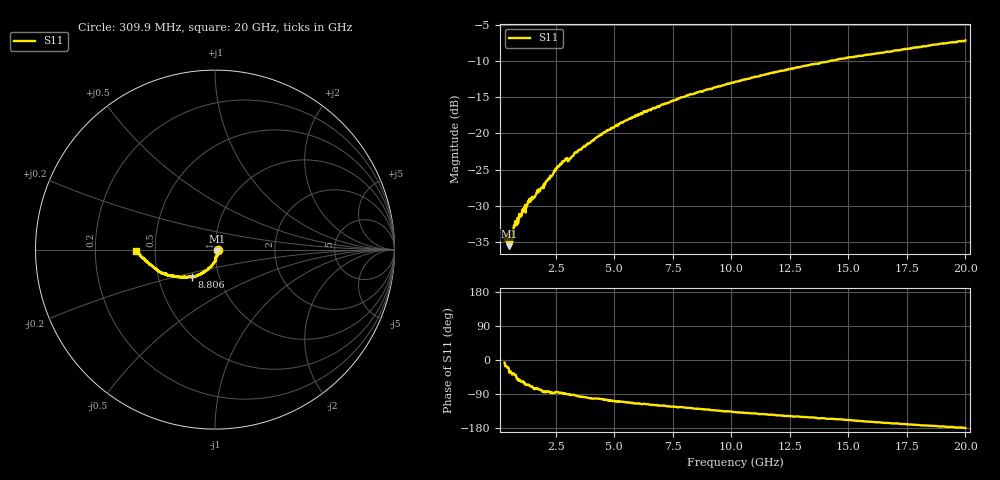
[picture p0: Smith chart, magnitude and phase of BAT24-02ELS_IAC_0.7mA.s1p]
! Infineon Technologies  Discrete & RF Semiconductors
! BAT24-02ELS
! IAC = 0.7 mA
! One-Port S-Parameters
# Hz  S  MA  R  50
!f  S11
!Hz  Mag  Ang
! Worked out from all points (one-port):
!   789 points, 309.9 MHz to 20 GHz, reference 50 ohm
!   lowest |S11| = -35.6 dB at 509.8 MHz (marker M1), VSWR 1.03, Z = 51.4 - j0.939 ohm
!   |S11| at or under -10 dB: start of sweep to 14.2 GHz
!   S11 on the Smith chart (normalised r, x): 309.9 MHz: 1.04, -0.00; 8.806 GHz: 0.74, -0.23; 20 GHz: 0.39, -0.01
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3.0985e8  0.01835 -7.0
4.098e8  0.01781 -17.7
4.847625e8  0.01837 -21.1
5.0975e8  0.0166 -33.4
5.59725e8  0.01678 -29.3
5.847125e8  0.01776 -34.5
7.346375e8  0.02261 -39.5
7.846125e8  0.02412 -39.0
1.30935e9  0.0338 -64.2
1.584212e9  0.03601 -77.2
1.959025e9  0.04379 -83.3
2.50875e9  0.05612 -84.5
2.783612e9  0.06416 -88.3
2.90855e9  0.06648 -88.9
3.083462e9  0.06661 -92.1
3.358325e9  0.07347 -94.1
4.30785e9  0.09504 -102.1
5.232388e9  0.1172 -109.7
6.256875e9  0.1421 -115.9
7.70615e9  0.1723 -124.9
8.8056e9  0.1972 -130.2
1.015492e10  0.2269 -137.4
1.262869e10  0.2809 -149.0
1.352824e10  0.302 -151.9
1.370315e10  0.3038 -153.7
1.507746e10  0.336 -158.4
1.755122e10  0.3844 -169.3
2e10  0.4387 -179.3
